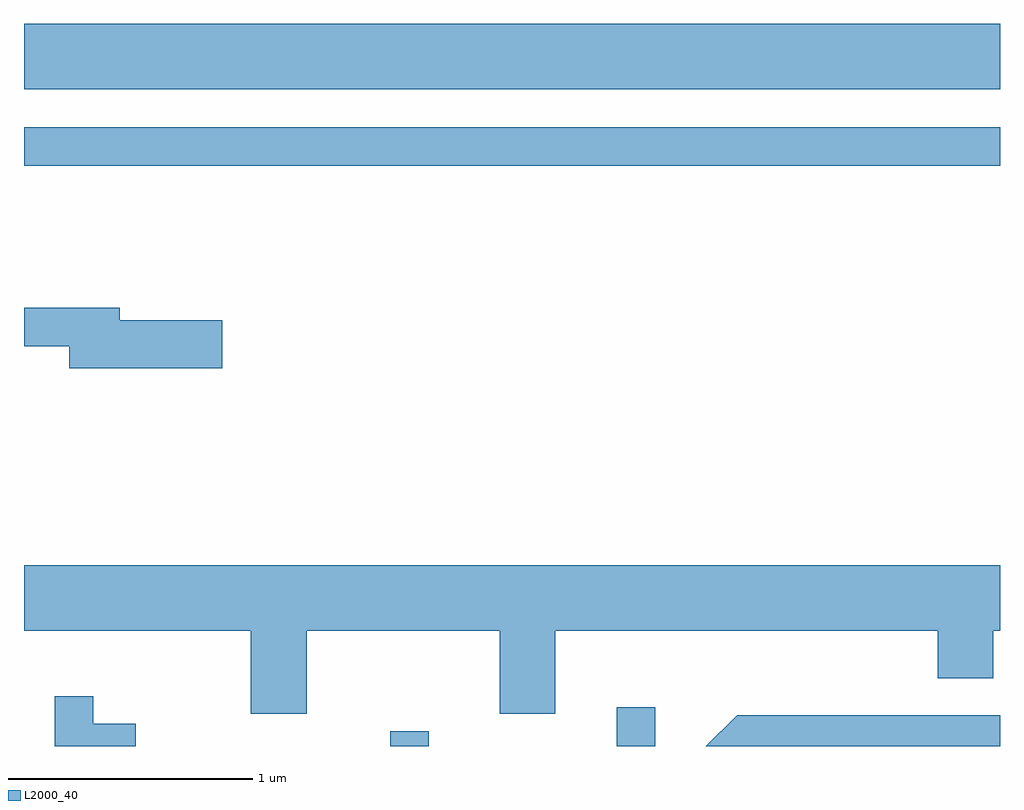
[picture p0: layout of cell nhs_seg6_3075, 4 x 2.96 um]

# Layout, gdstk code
import gdstk
lib = gdstk.Library(unit=1e-6, precision=1e-09)
def R(c, l, rs):  # rectangles x0, y0, x1, y1
    for r in rs: c.add(gdstk.rectangle(r[:2], r[2:], *l))
def P(c, l, *ps):  # polygons
    for p in ps: c.add(gdstk.Polygon(p, *l))
L2000_40 = (2000, 40)

nhs_seg6_3075 = lib.new_cell('nhs_seg6_3075')
R(nhs_seg6_3075, L2000_40, [(279.111,1616.162,279.269,1616.223), (280.041,1616.162,280.199,1616.323), (277.611,1618.541,281.611,1618.699), (277.611,1618.856,281.611,1619.124)])
P(nhs_seg6_3075, L2000_40, [(278.424,1617.909),(278.004,1617.909),(278.004,1617.959),(277.611,1617.959),(277.611,1617.801),(277.796,1617.801),(277.796,1617.711),(278.424,1617.711)],
  [(278.769,1616.636),(279.561,1616.636),(279.561,1616.296),(279.789,1616.296),(279.789,1616.636),(281.356,1616.636),(281.356,1616.441),(281.584,1616.441),(281.584,1616.636),(281.611,1616.636),(281.611,1616.904),(277.611,1616.904),(277.611,1616.636),(278.541,1616.636),(278.541,1616.296),(278.769,1616.296)],
  [(278.069,1616.254),(277.894,1616.254),(277.894,1616.368),(277.736,1616.368),(277.736,1616.162),(278.069,1616.162)],
  [(281.611,1616.289),(280.534,1616.289),(280.406,1616.162),(281.611,1616.162)])

lib.write_gds('nhs_seg6_3075.gds')
